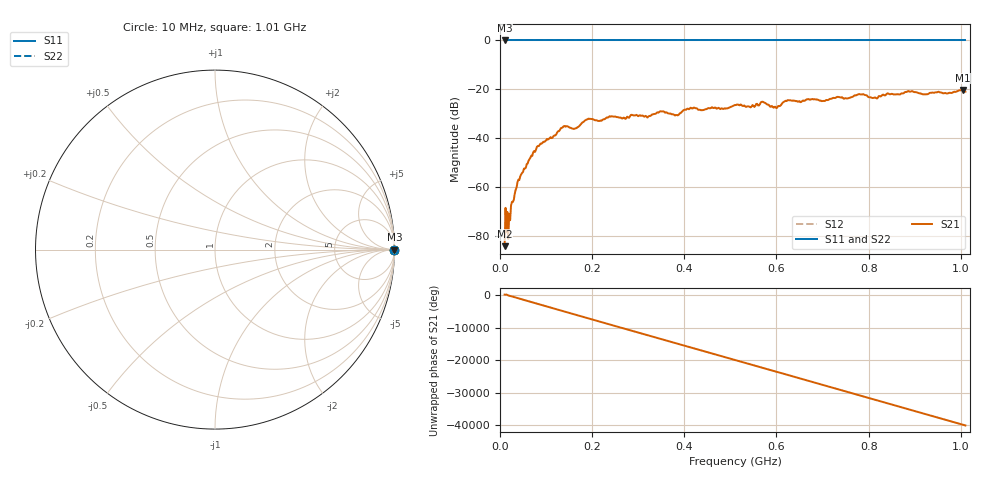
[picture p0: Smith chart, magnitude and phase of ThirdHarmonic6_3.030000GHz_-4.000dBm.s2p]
! 8/17/2025 8:44:36 AM
! C:\ANRITSUVNA\TEMP\TEMP.S2P
! CHANNEL.1
! TR.MEASUREMENT
! RAW.DATA
! RF.CORRECTION.OFF
! AVERAGING.OFF
! IF.BANDWIDTH: 5KHZ
! SWEEPTYPE:  FREQ.SWEEP(Linear)
! Reference Plane Port Info
! PORT:  PORT1  PORT2
! DISTANCE:  0  m  0  m
! TIME:  0  s  0  s
! PHASE.OFFSET:  0  deg.  0  deg.
! LOSS:  0  dB  0  dB
! REF.LOSS:  0  dB  0  dB
! REF.FREQ:  0  Hz  0  Hz
! Power Info
! POWER:  -20  dBm  -20  dBm
! EFF.POWER:  -20  dBm  -20  dBm
! SOURCE.ATTEN:  0  dB  0  dB
! TEST.ATTEN:  0  dB  0  dB
# GHZ S RI R 50.0
! FREQ.GHZ  S11RE  S11IM  S21RE  S21IM  S12RE  S12IM  S22RE  S22IM
!; PortSelection: Port_12
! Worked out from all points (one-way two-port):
!   501 points, 10 MHz to 1.01 GHz, reference 50 ohm
!   highest |S21| = -20.25 dB at 1.004 GHz (marker M1); lowest = -84.2 dB at 10 MHz (marker M2)
!   lowest |S11| = 0.0 dB at 10 MHz (marker M3)
!   |S11| at or under -10 dB: nowhere
!   |S22| runs from 0.0 to 0.0 dB; largest |S21 - S12| = 1.1
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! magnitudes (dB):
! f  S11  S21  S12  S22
! 10 MHz  0.0  -84.2  0.0  0.0
! 16 MHz  0.0  -70.2  0.0  0.0
! 18 MHz  0.0  -81.2  0.0  0.0
! 28 MHz  0.0  -66.1  0.0  0.0
! 42 MHz  0.0  -57.1  0.0  0.0
! 76 MHz  0.0  -45.6  0.0  0.0
! 136 MHz  0.0  -35.6  0.0  0.0
! 162 MHz  0.0  -36.1  0.0  0.0
! 178 MHz  0.0  -33.7  0.0  0.0
! 192 MHz  0.0  -32.0  0.0  0.0
! 322 MHz  0.0  -31.2  0.0  0.0
! 344 MHz  0.0  -29.5  0.0  0.0
! 384 MHz  0.0  -30.6  0.0  0.0
! 410 MHz  0.0  -28.2  0.0  0.0
! 510 MHz  0.0  -26.4  0.0  0.0
! 570 MHz  0.0  -25.1  0.0  0.0
! 598 MHz  0.0  -27.2  0.0  0.0
! 622 MHz  0.0  -24.8  0.0  0.0
! 678 MHz  0.0  -24.0  0.0  0.0
! 844 MHz  0.0  -21.9  0.0  0.0
! 1.004 GHz  0.0  -20.2  0.0  0.0
! 1.01 GHz  0.0  -21.0  0.0  0.0
